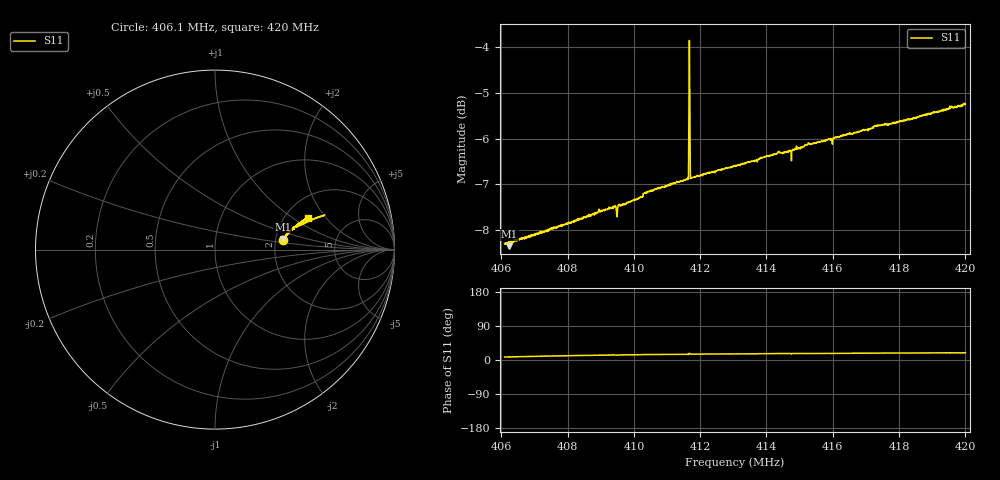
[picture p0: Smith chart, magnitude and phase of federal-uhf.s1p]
! Calibrated averaged scanner-service zoom
# Hz S RI R 50
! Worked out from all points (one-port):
!   2001 points, 406.1 MHz to 420 MHz, reference 50 ohm
!   lowest |S11| = -8.3 dB at 406.24 MHz (marker M1), VSWR 2.24, Z = 109 + j15 ohm
!   |S11| at or under -10 dB: nowhere
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4.061e8  0.3813 0.0526
4.06239e8  0.378 0.0585
4.078375e8  0.3957 0.0777
4.093526e8  0.4096 0.0967
4.094708e8  0.409 0.0931
4.09575e8  0.4125 0.0981
4.101171e8  0.4182 0.1032
4.103673e8  0.4236 0.1085
4.113125e8  0.4336 0.117
4.115766e8  0.436 0.1194
4.115905e8  0.4363 0.1196
4.116114e8  0.4369 0.1195
4.116183e8  0.4362 0.1191
4.116322e8  0.4388 0.1184
4.117295e8  0.4378 0.1214
4.117364e8  0.438 0.1211
4.117573e8  0.4374 0.1214
4.117642e8  0.4377 0.1211
4.117782e8  0.4379 0.122
4.1305e8  0.4497 0.1299
4.143983e8  0.4627 0.1414
4.147875e8  0.4651 0.1433
4.152323e8  0.4715 0.1444
4.16525e8  0.4839 0.1544
4.171296e8  0.4886 0.1594
4.172964e8  0.4924 0.1597
4.182625e8  0.4994 0.1656
4.2e8  0.5171 0.1776
